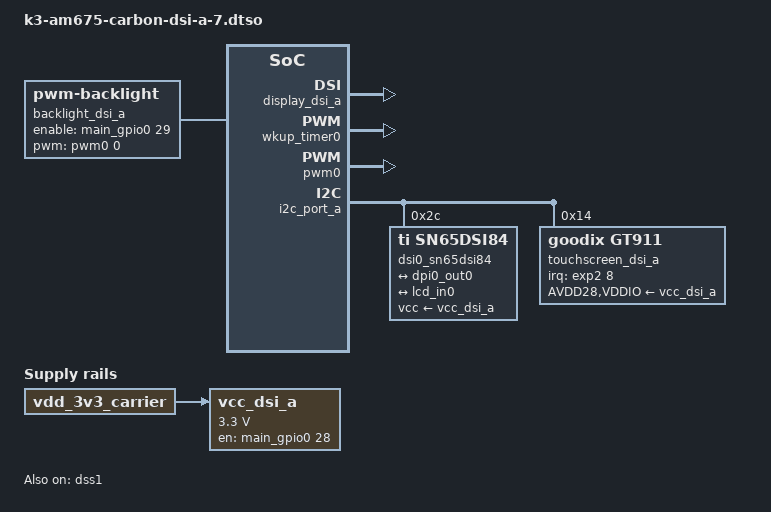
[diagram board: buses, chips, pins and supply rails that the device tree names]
// SPDX-License-Identifier: GPL-2.0-only OR MIT
/*
 * LVDS to LVDS Expansion Board with BD070LIC3 display for carbon AM67x
 *
 * Copyright (C) 2024 Ezurio LLC
 */

/dts-v1/;
/plugin/;

#include <dt-bindings/gpio/gpio.h>
#include <dt-bindings/interrupt-controller/irq.h>
#include <dt-bindings/pwm/pwm.h>
#include "k3-pinctrl.h"

&{/} {
	backlight_dsi_a: backlight-dsi-a {
		compatible = "pwm-backlight";

		brightness-levels = <0 1 2 3 4 5 6 7 8 9 10>;
		default-brightness-level = <8>;
		pwms = <&pwm0 0 30000 0>; /* 33.3 kHz */

		pinctrl-names = "default";
		pinctrl-0 = <&main_dsi_a_backlight_en_default>;
		enable-gpios = <&main_gpio0 29 GPIO_ACTIVE_HIGH>;
	};

	vcc_dsi_a: regulator-vcc-dsi-a {
		compatible = "regulator-fixed";
		regulator-name = "vcc_dsi_a";
		regulator-min-microvolt = <3300000>;
		regulator-max-microvolt = <3300000>;

		vin-supply = <&vdd_3v3_carrier>;

		pinctrl-names = "default";
		pinctrl-0 = <&main_dsi_a_pwr_default>;
		gpios = <&main_gpio0 28 GPIO_ACTIVE_HIGH>;
		enable-active-high;
		startup-delay-us = <10000>;
	};

	display_dsi_a: display-dsi-a {
		/* BD070LIC3 */
		compatible = "tianma,tm070jdhg30", "panel-simple";

		power-supply = <&vcc_dsi_a>;
		backlight = <&backlight_dsi_a>;

		port {
			lcd_in0: endpoint {
				//remote-endpoint = <&sn65dsi84_out>;
			};
		};
	};

};

&main_pmx0 {
	main_dsi_a_pwr_default: main-dsi-pwr-default-pins {
		pinctrl-single,pins = <
			J722S_IOPAD(0x070, PIN_INPUT, 7) /* DSI_VDD_EN (V24) GPMC0_AD13.GPIO0_28 */
		>;
	};

	main_dsi_a_backlight_en_default: main-dsi-a-backlight-en-default-pins {
		pinctrl-single,pins = <
			J722S_IOPAD(0x074, PIN_INPUT, 7) /* DSI_BL_EN (V22) GPMC0_AD14.GPIO0_29 */
		>;
	};
};

&wkup_timer0 {
	status = "okay";
};

&pwm0 {
	status = "okay";
};

&dss1 {
	status = "okay";
};

&dss1_ports {
	#address-cells = <1>;
	#size-cells = <0>;

	/* Video Port 2 Output to DSI */
	port@1 {
		reg = <1>;
		#address-cells = <1>;
		#size-cells = <0>;

		dpi0_out0: endpoint@0 {
			reg = <0>;
			remote-endpoint = <&sn65dsi84_in>;
		};
	};
};

&i2c_port_a {
	#address-cells = <1>;
	#size-cells = <0>;

	dsi0_sn65dsi84: bridge@2c {
		compatible = "ti,sn65dsi84";
		reg = <0x2c>;
		vcc-supply = <&vcc_dsi_a>;

		ports {
			#address-cells = <1>;
			#size-cells = <0>;

			port@0 {
				reg = <0>;

				sn65dsi84_in: endpoint {
					remote-endpoint = <&dpi0_out0>;
					data-lanes = <1 2 3 4>;
				};
			};

			port@2 {
				reg = <2>;

				sn65dsi84_out: endpoint {
					remote-endpoint = <&lcd_in0>;
				};
			};

		};
	};

	touchscreen_dsi_a: touchscreen-dsi-a@14 {
		compatible = "goodix,gt911";
		reg = <0x14>;
		AVDD28-supply = <&vcc_dsi_a>;
		VDDIO-supply = <&vcc_dsi_a>;
		interrupts-extended = <&exp2 8 IRQ_TYPE_EDGE_FALLING>;
		interrupt-names = "irq";
		irq-gpios = <&exp2 8 GPIO_ACTIVE_HIGH>;
		//reset-gpios = <&exp2 9 GPIO_ACTIVE_HIGH>;
		touchscreen-size-x = <1280>;
		touchscreen-size-y = <800>;
	};
};
